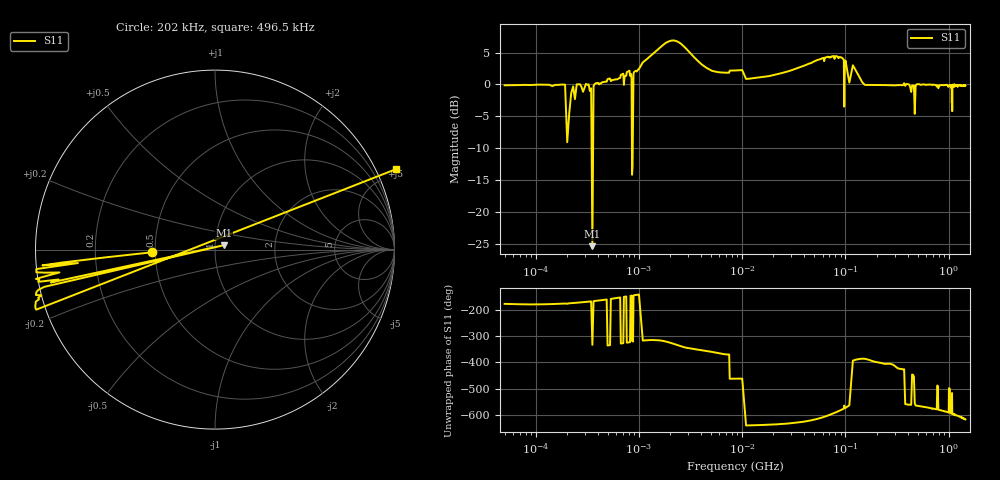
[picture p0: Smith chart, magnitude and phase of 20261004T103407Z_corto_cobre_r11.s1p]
! piloto_corto / corto_cobre / r11
# HZ S RI R 50
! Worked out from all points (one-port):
!   501 points, 50 kHz to 1.45 GHz, reference 50 ohm
!   lowest |S11| = -25.3 dB at 354 kHz (marker M1), VSWR 1.11, Z = 55 + j2.67 ohm
!   |S11| at or under -10 dB: 348.1 kHz to 359.8 kHz (11.7 kHz wide, 3.3 % of centre); 854.9 kHz to 870.7 kHz (15.82 kHz wide, 1.83 % of centre)
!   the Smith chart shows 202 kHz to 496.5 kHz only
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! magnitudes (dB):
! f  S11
! 50 kHz  -0.1
! 173.5 kHz  0.0
! 183 kHz  0.0
! 221 kHz  -1.3
! 240 kHz  -2.3
! 325.5 kHz  0.0
! 335 kHz  -1.0
! 354 kHz  -25.3
! 373 kHz  0.1
! 382.5 kHz  0.2
! 658 kHz  1.0
! 829 kHz  1.5
! 848 kHz  0.9
! 867 kHz  -12.8
! 876.5 kHz  -5.6
! 905 kHz  2.0
! 2.44 MHz  6.6
! 4.96 MHz  2.3
! 8.56 MHz  2.2
! 31.6 MHz  2.3
! 81.1 MHz  4.4
! 94.6 MHz  4.0
! 99.1 MHz  3.2
! 118 MHz  3.0
! 172 MHz  -0.1
! 406 MHz  0.0
! 1.072 GHz  -2.9
! 1.45 GHz  -0.2
